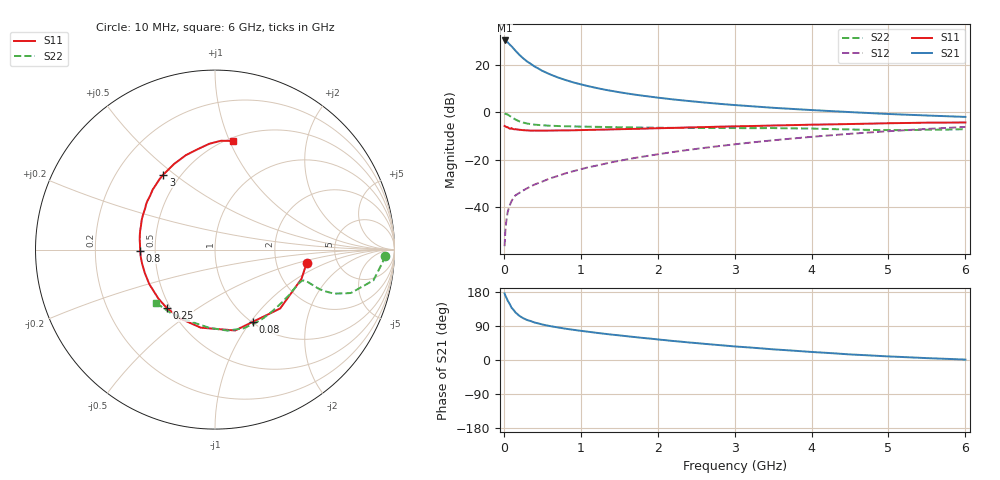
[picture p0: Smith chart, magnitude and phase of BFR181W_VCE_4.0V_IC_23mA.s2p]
! (c) 2017  Infineon Technologies AG, Munich
! Infineon Technologies  Discrete & RF Semiconductors
! BFR181W
! VCE =  4.0 V,  IC =  23 mA
! Common Emitter S-Parameters:  Jan 2017
# GHz  S  MA  R  50
!  f  S11  S21  S12  S22
! GHz  MAG  ANG  MAG  ANG  MAG  ANG  MAG  ANG
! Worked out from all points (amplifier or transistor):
!   77 points, 10 MHz to 6 GHz, reference 50 ohm
!   highest |S21| = 30.4 dB at 10 MHz (marker M1)
!   |S21| within 3 dB of that: start of sweep to 115 MHz
!   unconditionally stable (mu >= 1): 441.6 MHz to 2.521 GHz
!   at 130 MHz: K = 0.50, MSG = 31.4 dB, |S12| = -35.9 dB
!   at 2.2 GHz: K = 1.05, MAG = 9.8 dB, |S12| = -16.7 dB
!   at 6 GHz: K = 0.87, MSG = 2.1 dB, |S12| = -6.1 dB
!   S11 on the Smith chart (normalised r, x): 10 MHz: 3.00, -0.60; 80 MHz: 1.02, -1.03; 250 MHz: 0.48, -0.38; 800 MHz: 0.41, -0.01; 3 GHz: 0.40, +0.46; 6 GHz: 0.53, +1.03
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0.01  0.5164 -8.1  32.99 175.5  0.0015 85.5  0.9481 -2.0
0.02  0.5087 -18.7  32.58 170.0  0.0032 96.5  0.9365 -4.3
0.05  0.4893 -42.1  30.18 156.5  0.0079 75.8  0.899 -11.0
0.08  0.4544 -62.1  26.65 146.3  0.0112 69.3  0.8353 -14.8
0.1  0.4644 -76.0  24.87 138.0  0.0134 66.7  0.7951 -17.7
0.15  0.4421 -100.4  20.16 125.7  0.0177 62.6  0.7083 -20.3
0.2  0.4301 -116.8  16.53 116.8  0.0199 61.0  0.649 -20.8
0.25  0.4219 -129.6  13.92 110.5  0.0224 60.9  0.6109 -20.6
0.3  0.4172 -139.0  11.94 105.7  0.0249 62.2  0.5829 -20.0
0.4  0.4135 -152.3  9.285 98.8  0.03 65.5  0.5514 -19.3
0.5  0.4122 -161.4  7.538 93.7  0.0346 67.4  0.5341 -19.1
0.6  0.4135 -168.5  6.351 89.5  0.0405 69.3  0.5236 -19.2
0.7  0.4155 -174.0  5.482 86.0  0.0454 71.5  0.5158 -19.6
0.8  0.4171 -179.3  4.835 82.7  0.0516 72.9  0.5103 -20.5
1.1  0.4267 169.0  3.571 74.5  0.0695 75.4  0.4989 -23.6
1.5  0.4415 157.2  2.666 65.0  0.0949 76.6  0.4864 -29.4
2.1  0.4665 142.4  1.963 52.3  0.1381 76.1  0.4726 -40.5
3  0.5077 124.6  1.429 35.8  0.2117 71.6  0.4664 -59.8
3.1  0.5109 122.7  1.392 34.4  0.2208 70.7  0.4652 -61.9
4.1  0.5534 105.5  1.098 20.0  0.314 61.9  0.451 -83.7
5.1  0.5933 91.8  0.912 8.6  0.4099 51.0  0.4225 -112.0
6  0.6133 80.8  0.803 1.1  0.4927 40.3  0.4427 -137.7
